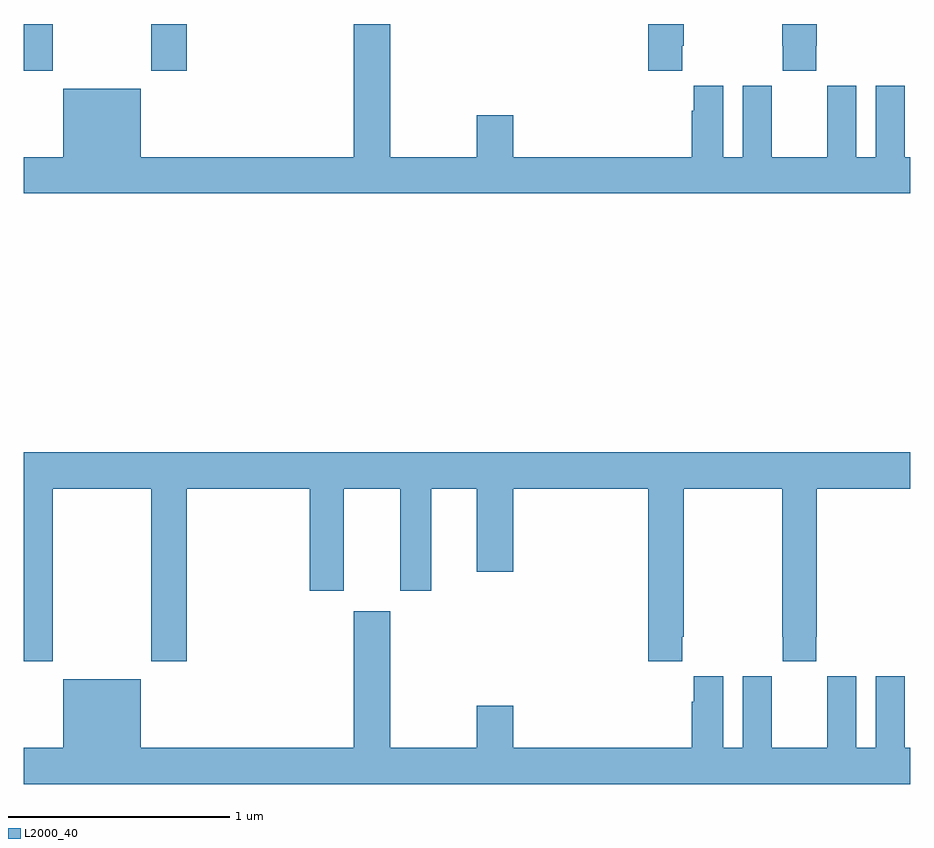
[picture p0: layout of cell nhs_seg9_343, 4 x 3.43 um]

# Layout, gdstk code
import gdstk
lib = gdstk.Library(unit=1e-6, precision=1e-09)
def R(c, l, rs):  # rectangles x0, y0, x1, y1
    for r in rs: c.add(gdstk.rectangle(r[:2], r[2:], *l))
def P(c, l, *ps):  # polygons
    for p in ps: c.add(gdstk.Polygon(p, *l))
L2000_40 = (2000, 40)

nhs_seg9_343 = lib.new_cell('nhs_seg9_343')
R(nhs_seg9_343, L2000_40, [(127,1214.289,127.131,1214.5), (127.576,1214.289,127.736,1214.5)])
P(nhs_seg9_343, L2000_40, [(130.575,1214.401),(130.578,1214.401),(130.578,1214.5),(130.423,1214.5),(130.423,1214.401),(130.425,1214.401),(130.425,1214.289),(130.575,1214.289)],
  [(129.971,1214.401),(129.977,1214.401),(129.977,1214.5),(129.818,1214.5),(129.818,1214.289),(129.971,1214.289)],
  [(131,1213.9),(130.975,1213.9),(130.975,1214.108),(130.974,1214.108),(130.974,1214.221),(130.844,1214.221),(130.844,1213.9),(130.756,1213.9),(130.756,1214.221),(130.626,1214.221),(130.626,1214.108),(130.625,1214.108),(130.625,1213.9),(130.375,1213.9),(130.375,1214.108),(130.374,1214.108),(130.374,1214.221),(130.244,1214.221),(130.244,1213.9),(130.156,1213.9),(130.156,1214.221),(130.022,1214.221),(130.022,1214.108),(130.013,1214.108),(130.013,1213.9),(129.208,1213.9),(129.208,1214.089),(129.044,1214.089),(129.044,1213.9),(128.653,1213.9),(128.653,1214.5),(128.489,1214.5),(128.489,1213.9),(127.528,1213.9),(127.528,1214.209),(127.178,1214.209),(127.178,1213.9),(127,1213.9),(127,1213.736),(131,1213.736)],
  [(127.131,1212.404),(127.576,1212.404),(127.576,1211.625),(127.736,1211.625),(127.736,1212.404),(128.291,1212.404),(128.291,1211.943),(128.443,1211.943),(128.443,1212.404),(128.699,1212.404),(128.699,1211.943),(128.839,1211.943),(128.839,1212.404),(129.044,1212.404),(129.044,1212.03),(129.208,1212.03),(129.208,1212.404),(129.818,1212.404),(129.818,1211.625),(129.971,1211.625),(129.971,1211.737),(129.977,1211.737),(129.977,1212.404),(130.423,1212.404),(130.423,1211.737),(130.425,1211.737),(130.425,1211.625),(130.575,1211.625),(130.575,1211.737),(130.578,1211.737),(130.578,1212.404),(131,1212.404),(131,1212.568),(127,1212.568),(127,1211.625),(127.131,1211.625)],
  [(131,1211.236),(130.975,1211.236),(130.975,1211.444),(130.974,1211.444),(130.974,1211.557),(130.844,1211.557),(130.844,1211.236),(130.756,1211.236),(130.756,1211.557),(130.626,1211.557),(130.626,1211.444),(130.625,1211.444),(130.625,1211.236),(130.375,1211.236),(130.375,1211.444),(130.374,1211.444),(130.374,1211.557),(130.244,1211.557),(130.244,1211.236),(130.156,1211.236),(130.156,1211.557),(130.022,1211.557),(130.022,1211.444),(130.013,1211.444),(130.013,1211.236),(129.208,1211.236),(129.208,1211.425),(129.044,1211.425),(129.044,1211.236),(128.653,1211.236),(128.653,1211.851),(128.489,1211.851),(128.489,1211.236),(127.528,1211.236),(127.528,1211.545),(127.178,1211.545),(127.178,1211.236),(127,1211.236),(127,1211.072),(131,1211.072)])

lib.write_gds('nhs_seg9_343.gds')
